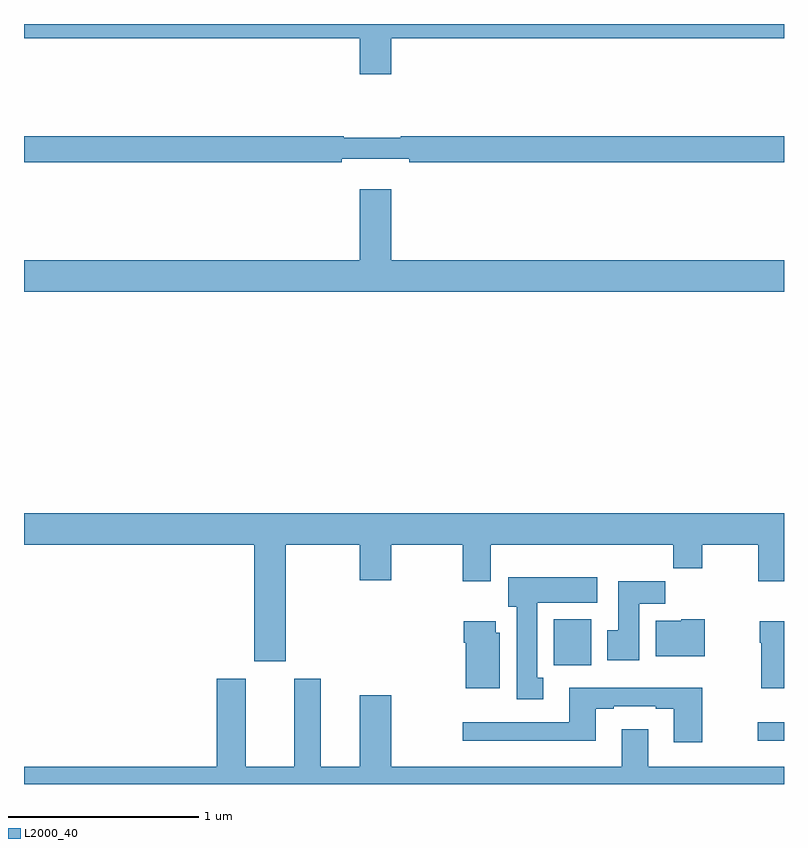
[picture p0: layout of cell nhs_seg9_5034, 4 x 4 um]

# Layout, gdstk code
import gdstk
lib = gdstk.Library(unit=1e-6, precision=1e-09)
def R(c, l, rs):  # rectangles x0, y0, x1, y1
    for r in rs: c.add(gdstk.rectangle(r[:2], r[2:], *l))
def P(c, l, *ps):  # polygons
    for p in ps: c.add(gdstk.Polygon(p, *l))
L2000_40 = (2000, 40)

nhs_seg9_5034 = lib.new_cell('nhs_seg9_5034')
R(nhs_seg9_5034, L2000_40, [(406.863,1188.728,407,1188.825), (405.788,1189.124,405.985,1189.366)])
P(nhs_seg9_5034, L2000_40, [(404.932,1192.424),(407,1192.424),(407,1192.5),(403,1192.5),(403,1192.424),(404.768,1192.424),(404.768,1192.236),(404.932,1192.236)],
  [(404.672,1191.791),(405.028,1191.791),(405.028,1191.772),(407,1191.772),(407,1191.908),(404.984,1191.908),(404.984,1191.901),(404.684,1191.901),(404.684,1191.908),(403,1191.908),(403,1191.772),(404.672,1191.772)],
  [(407,1191.256),(404.932,1191.256),(404.932,1191.631),(404.768,1191.631),(404.768,1191.256),(403,1191.256),(403,1191.092),(407,1191.092)],
  [(404.377,1189.76),(404.768,1189.76),(404.768,1189.572),(404.932,1189.572),(404.932,1189.76),(405.31,1189.76),(405.31,1189.566),(405.457,1189.566),(405.457,1189.76),(406.417,1189.76),(406.417,1189.636),(406.569,1189.636),(406.569,1189.76),(406.864,1189.76),(406.864,1189.566),(407,1189.566),(407,1189.924),(403,1189.924),(403,1189.76),(404.213,1189.76),(404.213,1189.146),(404.377,1189.146)],
  [(405.733,1189.058),(405.7,1189.058),(405.7,1189.454),(406.018,1189.454),(406.018,1189.588),(405.548,1189.588),(405.548,1189.434),(405.593,1189.434),(405.593,1188.945),(405.733,1188.945)],
  [(406.237,1189.448),(406.376,1189.448),(406.376,1189.567),(406.127,1189.567),(406.127,1189.308),(406.07,1189.308),(406.07,1189.152),(406.237,1189.152)],
  [(406.584,1189.366),(406.458,1189.366),(406.458,1189.36),(406.325,1189.36),(406.325,1189.172),(406.584,1189.172)],
  [(407,1189.357),(406.873,1189.357),(406.873,1189.244),(406.88,1189.244),(406.88,1189.004),(407,1189.004)],
  [(405.505,1189.296),(405.484,1189.296),(405.484,1189.357),(405.314,1189.357),(405.314,1189.244),(405.326,1189.244),(405.326,1189.004),(405.505,1189.004)],
  [(407,1188.592),(406.285,1188.592),(406.285,1188.787),(406.145,1188.787),(406.145,1188.592),(404.932,1188.592),(404.932,1188.967),(404.768,1188.967),(404.768,1188.592),(404.563,1188.592),(404.563,1189.054),(404.423,1189.054),(404.423,1188.592),(404.167,1188.592),(404.167,1189.054),(404.015,1189.054),(404.015,1188.592),(403,1188.592),(403,1188.5),(407,1188.5)],
  [(406.569,1189.006),(405.869,1189.006),(405.869,1188.825),(405.309,1188.825),(405.309,1188.728),(406.009,1188.728),(406.009,1188.897),(406.105,1188.897),(406.105,1188.909),(406.325,1188.909),(406.325,1188.897),(406.421,1188.897),(406.421,1188.72),(406.569,1188.72)])

lib.write_gds('nhs_seg9_5034.gds')
